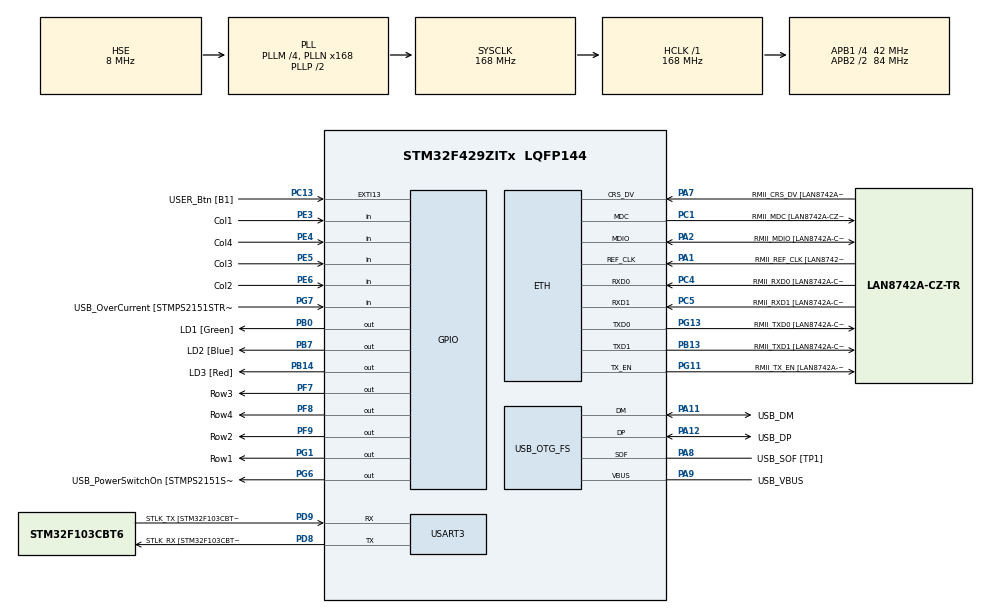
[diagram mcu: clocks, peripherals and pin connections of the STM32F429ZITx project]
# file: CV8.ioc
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ETH.MediaInterface=HAL_ETH_RMII_MODE
ETH.PHY_Name=LAN8742A_PHY_ADDRESS
ETH.PHY_Value=0
ETH.PhyAddress=0
Mcu.Family=STM32F4
Mcu.Name=STM32F429ZITx
Mcu.Package=LQFP144
NVIC.PriorityGroup=NVIC_PRIORITYGROUP_4
NVIC.TIM3_IRQn=true\:0\:0\:false\:false\:true\:true\:true\:true
PA1.GPIO_Label=RMII_REF_CLK [LAN8742A-CZ-TR_REFCLK0]
PA1.Mode=RMII
PA1.Signal=ETH_REF_CLK
PA10.GPIO_Label=USB_ID
PA10.Signal=USB_OTG_FS_ID
PA11.GPIO_Label=USB_DM
PA11.Mode=Device_Only
PA11.Signal=USB_OTG_FS_DM
PA12.GPIO_Label=USB_DP
PA12.Mode=Device_Only
PA12.Signal=USB_OTG_FS_DP
PA13.GPIO_Label=TMS
PA13.Mode=Serial_Wire
PA13.Signal=SYS_JTMS-SWDIO
PA14.GPIO_Label=TCK
PA14.Mode=Serial_Wire
PA14.Signal=SYS_JTCK-SWCLK
PA2.GPIO_Label=RMII_MDIO [LAN8742A-CZ-TR_MDIO]
PA2.Mode=RMII
PA2.Signal=ETH_MDIO
PA7.GPIO_Label=RMII_CRS_DV [LAN8742A-CZ-TR_CRS_DV]
PA7.Mode=RMII
PA7.Signal=ETH_CRS_DV
PA8.GPIO_Label=USB_SOF [TP1]
PA8.Mode=Activate_SOF_FS
PA8.Signal=USB_OTG_FS_SOF
PA9.GPIO_Label=USB_VBUS
PA9.Mode=Activate_VBUS
PA9.Signal=USB_OTG_FS_VBUS
PB0.GPIO_Label=LD1 [Green]
PB0.Signal=GPIO_Output
PB13.GPIO_Label=RMII_TXD1 [LAN8742A-CZ-TR_TXD1]
PB13.Mode=RMII
PB13.Signal=ETH_TXD1
PB14.GPIO_Label=LD3 [Red]
PB14.Signal=GPIO_Output
PB7.GPIO_Label=LD2 [Blue]
PB7.Signal=GPIO_Output
PC1.GPIO_Label=RMII_MDC [LAN8742A-CZ-TR_MDC]
PC1.Mode=RMII
PC1.Signal=ETH_MDC
PC13.GPIO_Label=USER_Btn [B1]
PC13.Signal=GPXTI13
PC14/OSC32_IN.Mode=LSE-External-Oscillator
PC14/OSC32_IN.Signal=RCC_OSC32_IN
PC15/OSC32_OUT.Mode=LSE-External-Oscillator
PC15/OSC32_OUT.Signal=RCC_OSC32_OUT
PC4.GPIO_Label=RMII_RXD0 [LAN8742A-CZ-TR_RXD0]
PC4.Mode=RMII
PC4.Signal=ETH_RXD0
PC5.GPIO_Label=RMII_RXD1 [LAN8742A-CZ-TR_RXD1]
PC5.Mode=RMII
PC5.Signal=ETH_RXD1
PD8.GPIO_Label=STLK_RX [STM32F103CBT6_PA3]
PD8.Mode=Asynchronous
PD8.Signal=USART3_TX
PD9.GPIO_Label=STLK_TX [STM32F103CBT6_PA2]
PD9.Mode=Asynchronous
PD9.Signal=USART3_RX
PE3.GPIO_Label=Col1
PE3.GPIO_PuPd=GPIO_PULLUP
PE3.Signal=GPIO_Input
PE4.GPIO_Label=Col4
PE4.GPIO_PuPd=GPIO_PULLUP
PE4.Signal=GPIO_Input
PE5.GPIO_Label=Col3
PE5.GPIO_PuPd=GPIO_PULLUP
PE5.Signal=GPIO_Input
PE6.GPIO_Label=Col2
PE6.GPIO_PuPd=GPIO_PULLUP
PE6.Signal=GPIO_Input
PF7.GPIO_Label=Row3
PF7.GPIO_ModeDefaultOutputPP=GPIO_MODE_OUTPUT_OD
PF7.GPIO_PuPd=GPIO_NOPULL
PF7.Signal=GPIO_Output
PF8.GPIO_Label=Row4
PF8.GPIO_ModeDefaultOutputPP=GPIO_MODE_OUTPUT_OD
PF8.GPIO_PuPd=GPIO_NOPULL
PF8.Signal=GPIO_Output
PF9.GPIO_Label=Row2
PF9.GPIO_ModeDefaultOutputPP=GPIO_MODE_OUTPUT_OD
PF9.GPIO_PuPd=GPIO_NOPULL
PF9.Signal=GPIO_Output
PG1.GPIO_Label=Row1
PG1.GPIO_ModeDefaultOutputPP=GPIO_MODE_OUTPUT_OD
PG1.GPIO_PuPd=GPIO_NOPULL
PG1.Signal=GPIO_Output
PG11.GPIO_Label=RMII_TX_EN [LAN8742A-CZ-TR_TXEN]
PG11.Mode=RMII
PG11.Signal=ETH_TX_EN
PG13.GPIO_Label=RMII_TXD0 [LAN8742A-CZ-TR_TXD0]
PG13.Mode=RMII
PG13.Signal=ETH_TXD0
PG6.GPIO_Label=USB_PowerSwitchOn [STMPS2151STR_EN]
PG6.Signal=GPIO_Output
PG7.GPIO_Label=USB_OverCurrent [STMPS2151STR_FAULT]
PG7.Signal=GPIO_Input
PH0/OSC_IN.GPIO_Label=MCO [STM32F103CBT6_PA8]
PH0/OSC_IN.Mode=HSE-External-Clock-Source
PH0/OSC_IN.Signal=RCC_OSC_IN
PH1/OSC_OUT.Mode=HSE-External-Clock-Source
PH1/OSC_OUT.Signal=RCC_OSC_OUT
ProjectManager.HeapSize=0x200
ProjectManager.StackSize=0x400
ProjectManager.TargetToolchain=STM32CubeIDE
RCC.48MHZClocksFreq_Value=48000000
RCC.AHBFreq_Value=168000000
RCC.APB1CLKDivider=RCC_HCLK_DIV4
RCC.APB1Freq_Value=42000000
RCC.APB1TimFreq_Value=84000000
RCC.APB2CLKDivider=RCC_HCLK_DIV2
RCC.APB2Freq_Value=84000000
RCC.APB2TimCLKDivider=2
RCC.APB2TimFreq_Value=168000000
RCC.CortexFreq_Value=168000000
RCC.HCLKFreq_Value=168000000
RCC.HSE_VALUE=8000000
RCC.HSI_VALUE=16000000
RCC.PLLM=4
RCC.PLLMUL=RCC_PLL_MUL9
RCC.PLLN=168
RCC.PLLQ=7
RCC.PRESCALERUSB=RCC_USBCLKSOURCE_PLL_DIV1_5
RCC.SYSCLKFreq_VALUE=168000000
RCC.SYSCLKSource=RCC_SYSCLKSOURCE_PLLCLK
RCC.SYSCLKSourceVirtual=RCC_SYSCLKSOURCE_PLLCLK
RCC.USBFreq_Value=48000000
RCC.VCOOutputFreq_Value=336000000
TIM3.Period=99
TIM3.Prescaler=8399
USART3.VirtualMode=VM_ASYNC
USB_OTG_FS.VirtualMode=Device_Only
VP_TIM3_VS_ClockSourceINT.Mode=Internal
board=NUCLEO-F429ZI

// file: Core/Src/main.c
/* USER CODE BEGIN Header */
/**
  ******************************************************************************
  * @file           : main.c
  * @brief          : Main program body
  ******************************************************************************
  * @attention
  *
  * Copyright (c) 2025 STMicroelectronics.
  * All rights reserved.
  *
  * This software is licensed under terms that can be found in the LICENSE file
  * in the root directory of this software component.
  * If no LICENSE file comes with this software, it is provided AS-IS.
  *
  ******************************************************************************
  */
/* USER CODE END Header */
#include "main.h"
#include "string.h"

/* USER CODE BEGIN Includes */
#include "stdio.h"
/* USER CODE END Includes */

ETH_TxPacketConfig TxConfig;
ETH_DMADescTypeDef  DMARxDscrTab[ETH_RX_DESC_CNT]; /* Ethernet Rx DMA Descriptors */
ETH_DMADescTypeDef  DMATxDscrTab[ETH_TX_DESC_CNT]; /* Ethernet Tx DMA Descriptors */

ETH_HandleTypeDef heth;

TIM_HandleTypeDef htim3;

UART_HandleTypeDef huart3;

PCD_HandleTypeDef hpcd_USB_OTG_FS;

void SystemClock_Config(void);
static void MX_GPIO_Init(void);
static void MX_ETH_Init(void);
static void MX_USART3_UART_Init(void);
static void MX_USB_OTG_FS_PCD_Init(void);
static void MX_TIM3_Init(void);
/* USER CODE BEGIN PFP */
static volatile char key;
/* USER CODE END PFP */

int main(void)
{

  /* MCU Configuration--------------------------------------------------------*/

  /* Reset of all peripherals, Initializes the Flash interface and the Systick. */
  HAL_Init();

  /* Configure the system clock */
  SystemClock_Config();

  /* Initialize all configured peripherals */
  MX_GPIO_Init();
  MX_ETH_Init();
  MX_USART3_UART_Init();
  MX_USB_OTG_FS_PCD_Init();
  MX_TIM3_Init();
  /* USER CODE BEGIN 2 */
  HAL_TIM_Base_Start_IT(&htim3);

  /* USER CODE END 2 */

  /* Infinite loop */
  /* USER CODE BEGIN WHILE */
  static uint8_t pos = 0;
  static uint8_t stat = 0;
  static uint32_t last_key_time = 0;

  while (1)
  {

//	  if (key != 0) {
//		  printf("stisknuto '%c'\r\n", key);
//		  HAL_Delay(500);
//		  key = 0;
//	  }
//	  printf("test text\r\n");
//	  HAL_GPIO_TogglePin(LD1_GPIO_Port, LD1_Pin);
//	  HAL_Delay(500);

	  if (key != 0){
		  uint32_t now = HAL_GetTick();
		  static const char password[] = { '7', '9', '3', '2', '#' };
		  static const uint8_t password_len = sizeof(password);

		  if (now - last_key_time > 3000) {
			  pos = 0;
		  }

		  last_key_time = now;

		  if (key == password[pos]) {
			  pos++;

			  printf("OK: %c (pos=%d)\n", key, pos);

			  if (pos == password_len) {
				  printf("UNLOCKED!\n");
				  stat = 1;
				  pos = 0;
			  }
		  }
		  else {
			  printf("WRONG: %c -> reset\n", key);
			  pos = 0;
		  }
		  HAL_Delay(250);
		  key = 0;
	  }
	  if (stat ==1) {
		  HAL_GPIO_TogglePin(LD1_GPIO_Port, LD1_Pin);
		  HAL_Delay(250);
	  }

    /* USER CODE END WHILE */

  }
}

void SystemClock_Config(void)
{
  RCC_OscInitTypeDef RCC_OscInitStruct = {0};
  RCC_ClkInitTypeDef RCC_ClkInitStruct = {0};

  /** Configure the main internal regulator output voltage
  */
  __HAL_RCC_PWR_CLK_ENABLE();
  __HAL_PWR_VOLTAGESCALING_CONFIG(PWR_REGULATOR_VOLTAGE_SCALE1);

  /** Initializes the RCC Oscillators according to the specified parameters
  * in the RCC_OscInitTypeDef structure.
  */
  RCC_OscInitStruct.OscillatorType = RCC_OSCILLATORTYPE_HSE;
  RCC_OscInitStruct.HSEState = RCC_HSE_BYPASS;
  RCC_OscInitStruct.PLL.PLLState = RCC_PLL_ON;
  RCC_OscInitStruct.PLL.PLLSource = RCC_PLLSOURCE_HSE;
  RCC_OscInitStruct.PLL.PLLM = 4;
  RCC_OscInitStruct.PLL.PLLN = 168;
  RCC_OscInitStruct.PLL.PLLP = RCC_PLLP_DIV2;
  RCC_OscInitStruct.PLL.PLLQ = 7;
  if (HAL_RCC_OscConfig(&RCC_OscInitStruct) != HAL_OK)
  {
    Error_Handler();
  }

  /** Initializes the CPU, AHB and APB buses clocks
  */
  RCC_ClkInitStruct.ClockType = RCC_CLOCKTYPE_HCLK|RCC_CLOCKTYPE_SYSCLK
                              |RCC_CLOCKTYPE_PCLK1|RCC_CLOCKTYPE_PCLK2;
  RCC_ClkInitStruct.SYSCLKSource = RCC_SYSCLKSOURCE_PLLCLK;
  RCC_ClkInitStruct.AHBCLKDivider = RCC_SYSCLK_DIV1;
  RCC_ClkInitStruct.APB1CLKDivider = RCC_HCLK_DIV4;
  RCC_ClkInitStruct.APB2CLKDivider = RCC_HCLK_DIV2;

  if (HAL_RCC_ClockConfig(&RCC_ClkInitStruct, FLASH_LATENCY_5) != HAL_OK)
  {
    Error_Handler();
  }
}

static void MX_ETH_Init(void)
{

   static uint8_t MACAddr[6];

  heth.Instance = ETH;
  MACAddr[0] = 0x00;
  MACAddr[1] = 0x80;
  MACAddr[2] = 0xE1;
  MACAddr[3] = 0x00;
  MACAddr[4] = 0x00;
  MACAddr[5] = 0x00;
  heth.Init.MACAddr = &MACAddr[0];
  heth.Init.MediaInterface = HAL_ETH_RMII_MODE;
  heth.Init.TxDesc = DMATxDscrTab;
  heth.Init.RxDesc = DMARxDscrTab;
  heth.Init.RxBuffLen = 1524;

  if (HAL_ETH_Init(&heth) != HAL_OK)
  {
    Error_Handler();
  }

  memset(&TxConfig, 0 , sizeof(ETH_TxPacketConfig));
  TxConfig.Attributes = ETH_TX_PACKETS_FEATURES_CSUM | ETH_TX_PACKETS_FEATURES_CRCPAD;
  TxConfig.ChecksumCtrl = ETH_CHECKSUM_IPHDR_PAYLOAD_INSERT_PHDR_CALC;
  TxConfig.CRCPadCtrl = ETH_CRC_PAD_INSERT;

}

static void MX_TIM3_Init(void)
{

  TIM_ClockConfigTypeDef sClockSourceConfig = {0};
  TIM_MasterConfigTypeDef sMasterConfig = {0};

  htim3.Instance = TIM3;
  htim3.Init.Prescaler = 8399;
  htim3.Init.CounterMode = TIM_COUNTERMODE_UP;
  htim3.Init.Period = 99;
  htim3.Init.ClockDivision = TIM_CLOCKDIVISION_DIV1;
  htim3.Init.AutoReloadPreload = TIM_AUTORELOAD_PRELOAD_DISABLE;
  if (HAL_TIM_Base_Init(&htim3) != HAL_OK)
  {
    Error_Handler();
  }
  sClockSourceConfig.ClockSource = TIM_CLOCKSOURCE_INTERNAL;
  if (HAL_TIM_ConfigClockSource(&htim3, &sClockSourceConfig) != HAL_OK)
  {
    Error_Handler();
  }
  sMasterConfig.MasterOutputTrigger = TIM_TRGO_RESET;
  sMasterConfig.MasterSlaveMode = TIM_MASTERSLAVEMODE_DISABLE;
  if (HAL_TIMEx_MasterConfigSynchronization(&htim3, &sMasterConfig) != HAL_OK)
  {
    Error_Handler();
  }

}

static void MX_USART3_UART_Init(void)
{

  huart3.Instance = USART3;
  huart3.Init.BaudRate = 115200;
  huart3.Init.WordLength = UART_WORDLENGTH_8B;
  huart3.Init.StopBits = UART_STOPBITS_1;
  huart3.Init.Parity = UART_PARITY_NONE;
  huart3.Init.Mode = UART_MODE_TX_RX;
  huart3.Init.HwFlowCtl = UART_HWCONTROL_NONE;
  huart3.Init.OverSampling = UART_OVERSAMPLING_16;
  if (HAL_UART_Init(&huart3) != HAL_OK)
  {
    Error_Handler();
  }

}

static void MX_USB_OTG_FS_PCD_Init(void)
{

  hpcd_USB_OTG_FS.Instance = USB_OTG_FS;
  hpcd_USB_OTG_FS.Init.dev_endpoints = 4;
  hpcd_USB_OTG_FS.Init.speed = PCD_SPEED_FULL;
  hpcd_USB_OTG_FS.Init.dma_enable = DISABLE;
  hpcd_USB_OTG_FS.Init.phy_itface = PCD_PHY_EMBEDDED;
  hpcd_USB_OTG_FS.Init.Sof_enable = ENABLE;
  hpcd_USB_OTG_FS.Init.low_power_enable = DISABLE;
  hpcd_USB_OTG_FS.Init.lpm_enable = DISABLE;
  hpcd_USB_OTG_FS.Init.vbus_sensing_enable = ENABLE;
  hpcd_USB_OTG_FS.Init.use_dedicated_ep1 = DISABLE;
  if (HAL_PCD_Init(&hpcd_USB_OTG_FS) != HAL_OK)
  {
    Error_Handler();
  }

}

static void MX_GPIO_Init(void)
{
  GPIO_InitTypeDef GPIO_InitStruct = {0};

  /* GPIO Ports Clock Enable */
  __HAL_RCC_GPIOE_CLK_ENABLE();
  __HAL_RCC_GPIOC_CLK_ENABLE();
  __HAL_RCC_GPIOF_CLK_ENABLE();
  __HAL_RCC_GPIOH_CLK_ENABLE();
  __HAL_RCC_GPIOA_CLK_ENABLE();
  __HAL_RCC_GPIOB_CLK_ENABLE();
  __HAL_RCC_GPIOG_CLK_ENABLE();
  __HAL_RCC_GPIOD_CLK_ENABLE();

  /*Configure GPIO pin Output Level */
  HAL_GPIO_WritePin(GPIOF, Row3_Pin|Row4_Pin|Row2_Pin, GPIO_PIN_RESET);

  /*Configure GPIO pin Output Level */
  HAL_GPIO_WritePin(GPIOB, LD1_Pin|LD3_Pin|LD2_Pin, GPIO_PIN_RESET);

  /*Configure GPIO pin Output Level */
  HAL_GPIO_WritePin(GPIOG, Row1_Pin|USB_PowerSwitchOn_Pin, GPIO_PIN_RESET);

  /*Configure GPIO pins : Col1_Pin Col4_Pin Col3_Pin Col2_Pin */
  GPIO_InitStruct.Pin = Col1_Pin|Col4_Pin|Col3_Pin|Col2_Pin;
  GPIO_InitStruct.Mode = GPIO_MODE_INPUT;
  GPIO_InitStruct.Pull = GPIO_PULLUP;
  HAL_GPIO_Init(GPIOE, &GPIO_InitStruct);

  /*Configure GPIO pin : USER_Btn_Pin */
  GPIO_InitStruct.Pin = USER_Btn_Pin;
  GPIO_InitStruct.Mode = GPIO_MODE_IT_RISING;
  GPIO_InitStruct.Pull = GPIO_NOPULL;
  HAL_GPIO_Init(USER_Btn_GPIO_Port, &GPIO_InitStruct);

  /*Configure GPIO pins : Row3_Pin Row4_Pin Row2_Pin */
  GPIO_InitStruct.Pin = Row3_Pin|Row4_Pin|Row2_Pin;
  GPIO_InitStruct.Mode = GPIO_MODE_OUTPUT_OD;
  GPIO_InitStruct.Pull = GPIO_NOPULL;
  GPIO_InitStruct.Speed = GPIO_SPEED_FREQ_LOW;
  HAL_GPIO_Init(GPIOF, &GPIO_InitStruct);

  /*Configure GPIO pins : LD1_Pin LD3_Pin LD2_Pin */
  GPIO_InitStruct.Pin = LD1_Pin|LD3_Pin|LD2_Pin;
  GPIO_InitStruct.Mode = GPIO_MODE_OUTPUT_PP;
  GPIO_InitStruct.Pull = GPIO_NOPULL;
  GPIO_InitStruct.Speed = GPIO_SPEED_FREQ_LOW;
  HAL_GPIO_Init(GPIOB, &GPIO_InitStruct);

  /*Configure GPIO pin : Row1_Pin */
  GPIO_InitStruct.Pin = Row1_Pin;
  GPIO_InitStruct.Mode = GPIO_MODE_OUTPUT_OD;
  GPIO_InitStruct.Pull = GPIO_NOPULL;
  GPIO_InitStruct.Speed = GPIO_SPEED_FREQ_LOW;
  HAL_GPIO_Init(Row1_GPIO_Port, &GPIO_InitStruct);

  /*Configure GPIO pin : USB_PowerSwitchOn_Pin */
  GPIO_InitStruct.Pin = USB_PowerSwitchOn_Pin;
  GPIO_InitStruct.Mode = GPIO_MODE_OUTPUT_PP;
  GPIO_InitStruct.Pull = GPIO_NOPULL;
  GPIO_InitStruct.Speed = GPIO_SPEED_FREQ_LOW;
  HAL_GPIO_Init(USB_PowerSwitchOn_GPIO_Port, &GPIO_InitStruct);

  /*Configure GPIO pin : USB_OverCurrent_Pin */
  GPIO_InitStruct.Pin = USB_OverCurrent_Pin;
  GPIO_InitStruct.Mode = GPIO_MODE_INPUT;
  GPIO_InitStruct.Pull = GPIO_NOPULL;
  HAL_GPIO_Init(USB_OverCurrent_GPIO_Port, &GPIO_InitStruct);

}

/* USER CODE BEGIN 4 */

int __io_putchar(int ch)
{
	ITM_SendChar(ch);
	return 0;
}

void HAL_TIM_PeriodElapsedCallback(TIM_HandleTypeDef *htim)
{
	static uint8_t row = 0;
	static const char keyboard[4][4] = {
			{ '1', '2', '3', 'A' },
			{ '4', '5', '6', 'B' },
			{ '7', '8', '9', 'C' },
			{ '*', '0', '#', 'D' },
	};
	if (key == 0) {
		if (HAL_GPIO_ReadPin(Col1_GPIO_Port, Col1_Pin) == GPIO_PIN_RESET) key = keyboard[row][0];
		if (HAL_GPIO_ReadPin(Col2_GPIO_Port, Col2_Pin) == GPIO_PIN_RESET) key = keyboard[row][1];
		if (HAL_GPIO_ReadPin(Col3_GPIO_Port, Col3_Pin) == GPIO_PIN_RESET) key = keyboard[row][2];
		if (HAL_GPIO_ReadPin(Col4_GPIO_Port, Col4_Pin) == GPIO_PIN_RESET) key = keyboard[row][3];
	}
	HAL_GPIO_WritePin(Row1_GPIO_Port, Row1_Pin, GPIO_PIN_SET);
	HAL_GPIO_WritePin(Row2_GPIO_Port, Row2_Pin, GPIO_PIN_SET);
	HAL_GPIO_WritePin(Row3_GPIO_Port, Row3_Pin, GPIO_PIN_SET);
	HAL_GPIO_WritePin(Row4_GPIO_Port, Row4_Pin, GPIO_PIN_SET);
	switch (row) {
	case 0: row = 1; HAL_GPIO_WritePin(Row2_GPIO_Port, Row2_Pin, GPIO_PIN_RESET); break;
	case 1: row = 2; HAL_GPIO_WritePin(Row3_GPIO_Port, Row3_Pin, GPIO_PIN_RESET); break;
	case 2: row = 3; HAL_GPIO_WritePin(Row4_GPIO_Port, Row4_Pin, GPIO_PIN_RESET); break;
	case 3: row = 0; HAL_GPIO_WritePin(Row1_GPIO_Port, Row1_Pin, GPIO_PIN_RESET); break;
	}
}

/* USER CODE END 4 */

void Error_Handler(void)
{
  __disable_irq();
  while (1)
  {
  }
}
